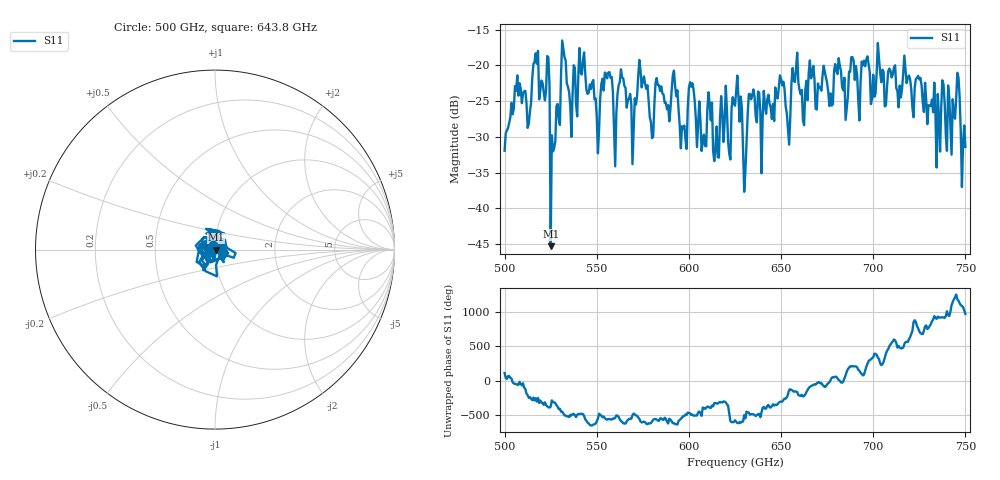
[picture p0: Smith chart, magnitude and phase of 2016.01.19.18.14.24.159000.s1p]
!Created with skrf (http://scikit-rf.org).
# GHz S RI R 50.0
!freq ReS11 ImS11
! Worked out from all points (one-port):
!   401 points, 500 GHz to 750 GHz, reference 50 ohm
!   lowest |S11| = -45.3 dB at 525 GHz (marker M1), VSWR 1.01, Z = 50.5 - j0.13 ohm
!   |S11| at or under -10 dB: start of sweep to end of sweep
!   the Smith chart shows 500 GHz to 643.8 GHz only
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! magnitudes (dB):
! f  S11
! 500 GHz  -31.9
! 506.9 GHz  -21.4
! 513.1 GHz  -28.2
! 516.9 GHz  -18.3
! 523.1 GHz  -18.7
! 525 GHz  -45.3
! 526.2 GHz  -32.0
! 531.2 GHz  -16.5
! 535.6 GHz  -25.6
! 541.9 GHz  -21.3
! 550 GHz  -27.2
! 562.5 GHz  -22.3
! 593.8 GHz  -23.5
! 597.5 GHz  -28.4
! 601.2 GHz  -23.0
! 608.1 GHz  -29.7
! 611.2 GHz  -25.5
! 615 GHz  -28.5
! 625 GHz  -25.6
! 630.6 GHz  -34.9
! 633.8 GHz  -24.7
! 653.8 GHz  -28.8
! 656.2 GHz  -20.4
! 687.5 GHz  -20.9
! 718.8 GHz  -21.7
! 735 GHz  -24.0
! 745.6 GHz  -21.0
! 750 GHz  -31.4
